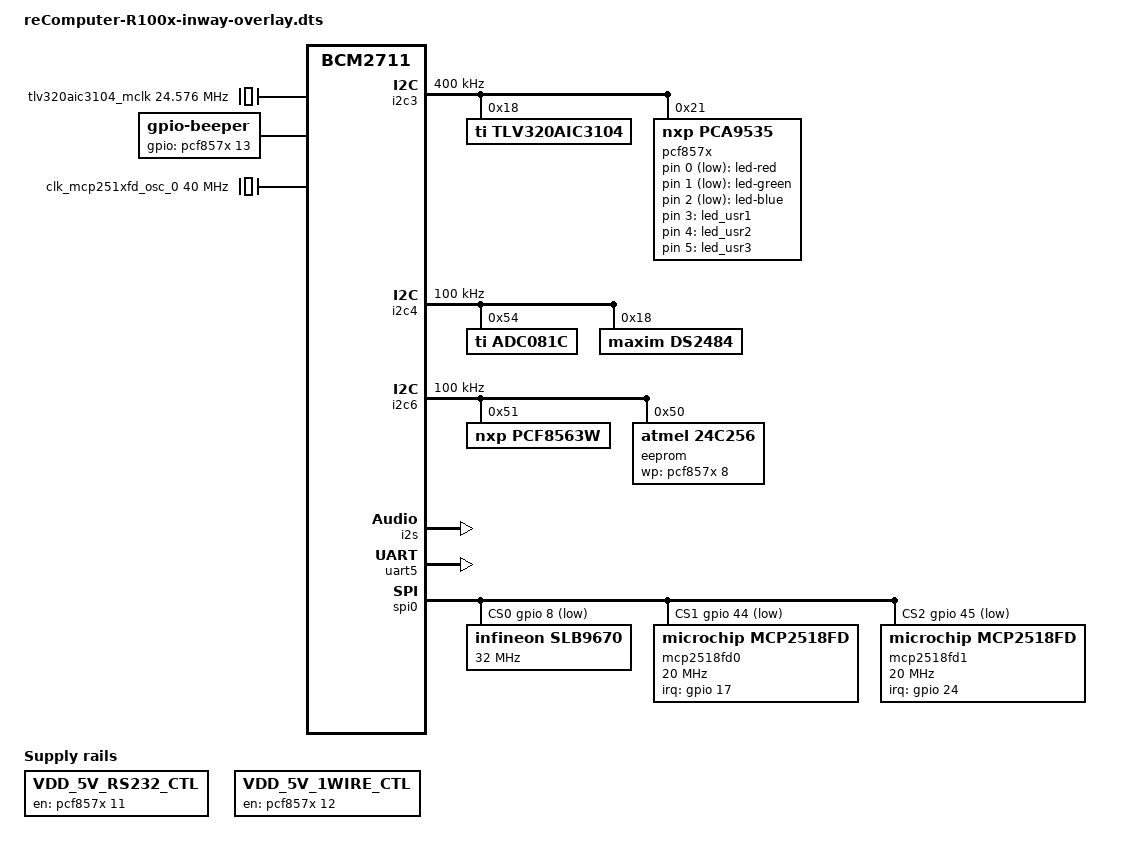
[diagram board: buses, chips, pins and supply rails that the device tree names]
/*
 * Copyright (C) 2021 Seeed Studio
 * ruiqian <ruiqian.tang@seeed.cc>
 *
 * MIT License
 *
 */
 /dts-v1/;
 /plugin/;

 #include "dt-bindings/gpio/gpio.h"

 / {
	compatible = "brcm,bcm2835", "brcm,bcm2708", "brcm,bcm2709", "brcm,bcm2711";

	fragment@0 {
        target-path="/";
        __overlay__ {
            hardware = "reComputer-R110x V1.0";
        };
    };

	fragment@1 {
		target = <&i2c3>;
		__overlay__ {
			status = "okay";
			clock-frequency = <400000>;
			#address-cells = <1>;
			#size-cells = <0>;

			tlv320aic3104: tlv320aic3104@18 {
				#sound-dai-cells = <0>;
				compatible = "ti,tlv320aic3104";
				reg = <0x18>;
				//reset-gpios = <&pcf857x 13 0>;
				//ai3x-micbias-vg = <2>; // set MICBIAS to 2.5v
		};

			pcf857x: pcf@21 {
				compatible = "nxp,pca9535";
				reg = <0x21>;
				status = "okay";

				gpio-controller;
				#gpio-cells = <2>;

				gpio-line-names =
					"Red_LED"				,"Green_LED",
					"Blue_LED"				,"USR_LED_1",
					"USR_LED_2"				,"USR_LED_3",
					"gpio_pin6"				,"gpio_pin7",
					"EEPROM_WP"		        ,"TPM_RST",
					"LTE_RESET"		    	,"VDD_5V_RS232_CTL",
					"VDD_5V_1WIRE_CTL"		,"IO_Buzzer_EN",
					"USB_RST_EN"			,"PA_MUTE_CTL";

				Red_LED {
					gpios = <&pcf857x 0 GPIO_ACTIVE_HIGH>;
					output-low;
					line-name = "Red_LED";
				};

				Green_LED {
					gpios = <&pcf857x 1 GPIO_ACTIVE_HIGH>;
					output-low;
					line-name = "Green_LED";
				};

				Blue_LED {
					gpios = <&pcf857x 2 GPIO_ACTIVE_HIGH>;
					output-low;
					line-name = "Blue_LED";
				};

				USR_LED_1 {
					gpios = <&pcf857x 3 GPIO_ACTIVE_HIGH>;
					output-high;
					line-name = "USR_LED_1";
				};

				USR_LED_2 {
					gpios = <&pcf857x 4 GPIO_ACTIVE_HIGH>;
					output-high;
					line-name = "USR_LED_2";
				};

				USR_LED_3 {
					gpios = <&pcf857x 5 GPIO_ACTIVE_HIGH>;
					output-high;
					line-name = "USR_LED_3";
				};

				EEPROM_WP {
					gpios = <&pcf857x 8 GPIO_ACTIVE_HIGH>;
					output-high;
					line-name = "EEPROM_WP";
				};

				TPM_RST {
					gpios = <&pcf857x 9 GPIO_ACTIVE_HIGH>;
					output-low;
					line-name = "TPM_RST";
				};

				LTE_RESET {
					gpios = <&pcf857x 10 GPIO_ACTIVE_HIGH>;
					output-high;
					line-name = "LTE_RESET";
				};

				VDD_5V_RS232_CTL {
					gpios = <&pcf857x 11 GPIO_ACTIVE_HIGH>;
					output-high;
					line-name = "VDD_5V_RS232_CTL";
				};

				VDD_5V_1WIRE_CTL {
					gpios = <&pcf857x 12 GPIO_ACTIVE_HIGH>;
					line-name = "VDD_5V_1WIRE_CTL";
				};

				IO_Buzzer_EN {
					gpios = <&pcf857x 13 GPIO_ACTIVE_HIGH>;
					line-name = "IO_Buzzer_EN";
				};

				USB_RST_EN {
					gpios = <&pcf857x 14 GPIO_ACTIVE_HIGH>;
					line-name = "USB_RST_EN";
				};

				PA_MUTE_CTL {
					gpios = <&pcf857x 15 GPIO_ACTIVE_HIGH>;
					line-name = "PA_MUTE_CTL";
				};
			};
		};
	};

	fragment@2 {
		target = <&i2c4>;
		__overlay__ {
			status = "okay";
			clock-frequency = <100000>;
			#address-cells = <1>;
			#size-cells = <0>;
			
			adc081c: adc@54 {
				compatible = "ti,adc081c";
				reg = <0x54>;
			};

			ds2484: onewire@18 {
				compatible = "maxim,ds2484";
				reg = <0x18>;
			};
		};
	};

	fragment@3 {
		target = <&i2c6>;
		__overlay__ {
			status = "okay";
			clock-frequency = <100000>;
			#address-cells = <1>;
			#size-cells = <0>;
			
			pcf8563w@51 {
				compatible = "nxp,pcf8563w";
				reg = <0x51>;
				reset-source;
				/* 0 = 4096Hz, 1 = 64Hz, 2 = 1Hz, 3 = 1/60Hz */
				timer-frequency = <0x02>;
				/* Timeout count, max 255 min 2*/
				default-timeout =  <120>;
				min-hw-heartbeat-ms = <2000>;
			};

			eeprom@50 {
				compatible = "atmel,24c256";
				reg = <0x50>;
				wp-gpios = <&pcf857x 8 GPIO_ACTIVE_HIGH>;
			};

		};
	};

	fragment@4 {
		target = <&i2c3_pins>;
		__overlay__ {
			brcm,pins = <2 3>;
		};
	};

	fragment@5 {
		target = <&i2c4_pins>;
		__overlay__ {
			brcm,pins = <6 7>;
		};
	};

	fragment@25 {
		target = <&i2s>;
		__overlay__ {
			status = "okay";
		};
	};

	fragment@6 {
		target = <&uart5>;
		__overlay__ {
			label = "RS232";
			status = "okay";
		};
	};

	fragment@c {
			target-path = "/clocks";
			__overlay__ {
					clk_mcp251xfd_osc_0: mcp251xfd-spi0-0-osc {
							#clock-cells = <0>;
							compatible = "fixed-clock";
							clock-frequency = <40000000>;
					};
			};
	};

	fragment@7 {
		target = <&spi0>;
		__overlay__ {
			cs-gpios = <&gpio 8 1>, <&gpio 44 1>, <&gpio 45 1>;
			status = "okay";
		};
	};
	
	fragment@8 {
		target = <&spi0_cs_pins>;
		__overlay__ {
			brcm,pins = <8 44 45>;
			brcm,function = <1>; /* output */
			status = "okay";
		};
	};

	fragment@10 {
		target = <&spidev0>;
		__overlay__ {
			status = "disabled";
		};
	};

	fragment@11 {
		target = <&spidev1>;
		__overlay__ {
			status = "disabled";
		};
	};

	fragment@b {
			target = <&gpio>;
			__overlay__ {
					mcp251xfd_pins_0: mcp251xfd_spi0_0_pins {
							brcm,pins = <17>;
							brcm,function = <0>;//BCM2835_FSEL_GPIO_IN 
					};
					mcp251xfd_pins_1: mcp251xfd_spi0_1_pins {
							brcm,pins = <24>;
							brcm,function = <0>;//BCM2835_FSEL_GPIO_IN 
					};
			};
	};

	fragment@12 {
		target = <&spi0>;
		__overlay__ {
			#address-cells = <1>;
			#size-cells = <0>;

			slb9670: slb9670@0 {
				compatible = "infineon,slb9670";
				reg = <0>;	/* CE0 */
				#address-cells = <1>;
				#size-cells = <0>;
				spi-max-frequency = <32000000>;
				status = "okay";
			};

			mcp2518fd0: can@1 {
				compatible = "microchip,mcp2518fd";
				reg = <1>;
				pinctrl-names = "default";
				pinctrl-0 = <&mcp251xfd_pins_0>;
				clocks = <&clk_mcp251xfd_osc_0>;
				interrupt-parent = <&gpio>;
				interrupts = <17 8>;//IRQ_TYPE_LEVEL_LOW 
				spi-max-frequency = <20000000>;
			};

			mcp2518fd1: can@2 {
				compatible = "microchip,mcp2518fd";
				reg = <2>;
				pinctrl-names = "default";
				pinctrl-0 = <&mcp251xfd_pins_1>;
				clocks = <&clk_mcp251xfd_osc_0>;
				interrupt-parent = <&gpio>;
				interrupts = <24 8>;//IRQ_TYPE_LEVEL_LOW 
				spi-max-frequency = <20000000>;
			};

		};
	};

	fragment@13 {
		target-path="/";
		__overlay__ {

			tlv320aic3104_mclk: tlv320aic3104_mclk {
				#clock-cells = <0>;
				compatible = "fixed-clock";
				clock-frequency = <24576000>;
			};
		};
	};

	fragment@14 {
		target = <&sound>;
		slave_overlay: __overlay__ {
			compatible = "simple-audio-card";
			simple-audio-card,format = "dsp_b";
			simple-audio-card,name = "seeed2micvoicec";
			status = "okay";

			simple-audio-card,widgets =
					"Headphone", "Headphone Jack",
					"Line", "Line In";
			simple-audio-card,routing =
					"Headphone Jack",       "HPLOUT",
					"Headphone Jack",       "HPROUT",
					"LINE1L",               "Line In",
					"LINE1R",               "Line In";
			simple-audio-card,bitclock-inversion;
			
			simple-audio-card,cpu {
					sound-dai = <&i2s>;
			};
			sound_master: simple-audio-card,codec {
							#sound-dai-cells = <0>;
							sound-dai = <&tlv320aic3104>;
							clocks = <&tlv320aic3104_mclk>;
							clock-names = "mclk";
			};
		};
	};

	fragment@15 {
		target = <&leds>;
		__overlay__ {
			compatible = "gpio-leds";

			led_red: led_red {
				label = "led-red";
				linux,default-trigger = "default-off";
				gpios = <&pcf857x 0 GPIO_ACTIVE_LOW>;
				default-state = "off";
			};
			
			led_green: led_green {
				label = "led-green";
				linux,default-trigger = "default-off";
				gpios = <&pcf857x 1 GPIO_ACTIVE_LOW>;
				default-state = "off";
			};

			led_blue: led_blue {
				label = "led-blue";
				linux,default-trigger = "default-off";
				gpios = <&pcf857x 2 GPIO_ACTIVE_LOW>;
				default-state = "off";
			};

			led_usr1: led_usr1 {
				label = "led_usr1";
				linux,default-trigger = "default-off";
				gpios = <&pcf857x 3 GPIO_ACTIVE_HIGH>;
				default-state = "off";
			};
			
			led_usr2: led_usr2 {
				label = "led_usr2";
				linux,default-trigger = "default-off";
				gpios = <&pcf857x 4 GPIO_ACTIVE_HIGH>;
				default-state = "off";
			};

			led_usr3: led_usr3 {
				label = "led_usr3";
				linux,default-trigger = "default-off";
				gpios = <&pcf857x 5 GPIO_ACTIVE_HIGH>;
				default-state = "off";
			};
		};
	};

	fragment@16 {
		target-path="/";
		__overlay__ {
			beeper: beeper {
				compatible = "gpio-beeper";
				gpios = <&pcf857x 13 GPIO_ACTIVE_HIGH>;
				status = "okay";
			};
		};
	};

	fragment@17 {
		target-path="/";
		__overlay__ {
			VDD_5V_RS232_CTL:VDD_5V_RS232_CTL {
				compatible = "regulator-fixed";
				regulator-name = "VDD_5V_RS232_CTL";
				gpio = <&pcf857x 11 GPIO_ACTIVE_HIGH>;
				enable-active-high;
				regulator-boot-on;
				regulator-always-on;
			};

			VDD_5V_1WIRE_CTL:VDD_5V_1WIRE_CTL {
				compatible = "regulator-fixed";
				regulator-name = "VDD_5V_1WIRE_CTL";
				gpio = <&pcf857x 12 GPIO_ACTIVE_HIGH>;
				enable-active-high;
				regulator-boot-on;
				regulator-always-on;
			};
		};
	};
};	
